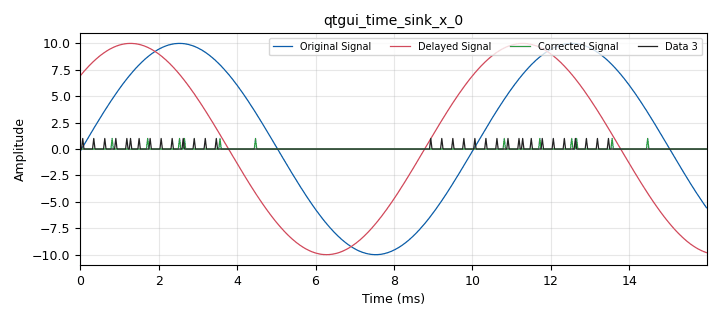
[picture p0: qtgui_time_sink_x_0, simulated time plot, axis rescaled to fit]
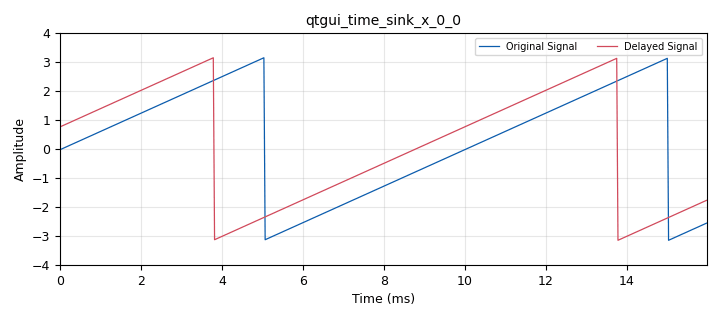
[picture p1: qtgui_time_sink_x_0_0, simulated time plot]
options:
  parameters:
    generate_options: qt_gui
    id: top_block
    output_language: python
  states: {}

blocks:
- name: alpha
  id: variable
  parameters:
    value: '0.001'
  states: {}
- name: amplitude
  id: variable_qtgui_range
  parameters:
    label: Amplitude
    min_len: '10'
    orient: Qt.Horizontal
    start: '0'
    step: '0.5'
    stop: '10'
    value: '10'
  states: {}
- name: delay
  id: variable_qtgui_entry
  parameters:
    type: int
    value: '0'
  states: {}
- name: factor
  id: variable
  parameters:
    value: '0.3'
  states: {}
- name: frequency
  id: variable
  parameters:
    value: '100'
  states: {state: disabled}
- name: frequency
  id: variable_qtgui_entry
  parameters:
    type: real
    value: '100'
  states: {}
- name: lookahead
  id: variable
  parameters:
    value: int(samp_rate/1e3/1.1)
  states: {}
- name: samp_rate
  id: variable
  parameters:
    value: 32e3
  states: {}
- name: analog_noise_source_x_0
  id: analog_noise_source_x
  parameters:
    amp: '0.001'
    noise_type: analog.GR_GAUSSIAN
    seed: '0'
    type: complex
  states: {}
- name: analog_sig_source_x_0
  id: analog_sig_source_x
  parameters:
    amp: amplitude
    freq: frequency
    offset: '0'
    phase: '0'
    samp_rate: samp_rate
    type: complex
    waveform: analog.GR_COS_WAVE
  states: {}
- name: analog_sig_source_x_0_0
  id: analog_sig_source_x
  parameters:
    amp: amplitude
    freq: frequency
    offset: '0'
    phase: 3.1415/4
    samp_rate: samp_rate
    type: complex
    waveform: analog.GR_COS_WAVE
  states: {}
- name: blocks_add_xx_0
  id: blocks_add_xx
  parameters:
    type: complex
  states: {}
- name: blocks_add_xx_0_0
  id: blocks_add_xx
  parameters:
    type: complex
  states: {}
- name: blocks_char_to_float_0
  id: blocks_char_to_float
  parameters:
    scale: '1'
  states: {}
- name: blocks_char_to_float_0_0
  id: blocks_char_to_float
  parameters:
    scale: '1'
  states: {}
- name: blocks_complex_to_magphase_0_0
  id: blocks_complex_to_magphase
  parameters: {}
  states: {}
- name: blocks_complex_to_magphase_0_0_0
  id: blocks_complex_to_magphase
  parameters: {}
  states: {}
- name: blocks_complex_to_real_0
  id: blocks_complex_to_real
  parameters: {}
  states: {}
- name: blocks_complex_to_real_0_0
  id: blocks_complex_to_real
  parameters: {}
  states: {}
- name: blocks_delay_0
  id: blocks_delay
  parameters:
    delay: delay
    type: complex
  states: {}
- name: blocks_null_sink_0
  id: blocks_null_sink
  parameters:
    type: float
  states: {}
- name: blocks_null_sink_0_0
  id: blocks_null_sink
  parameters:
    type: float
  states: {}
- name: blocks_null_sink_0_0_0
  id: blocks_null_sink
  parameters:
    type: float
  states: {}
- name: blocks_peak_detector2_fb_0
  id: blocks_peak_detector2_fb
  parameters:
    alpha: alpha
    look_ahead: lookahead
    threshold_factor_rise: factor
  states: {}
- name: blocks_peak_detector2_fb_0_0
  id: blocks_peak_detector2_fb
  parameters:
    alpha: '0.001'
    look_ahead: '9'
    threshold_factor_rise: '0.3'
  states: {}
- name: blocks_throttle_0_0
  id: blocks_throttle
  parameters:
    samples_per_second: samp_rate
    type: complex
  states: {}
- name: blocks_throttle_0_0_0
  id: blocks_throttle
  parameters:
    samples_per_second: samp_rate
    type: complex
  states: {}
- name: qtgui_time_sink_x_0
  id: qtgui_time_sink_x
  parameters:
    ctrlpanel: 'True'
    entags: 'False'
    grid: 'True'
    label1: Original Signal
    label2: Delayed Signal
    label3: Corrected Signal
    label4: ''
    nconnections: '4'
    size: '512'
    srate: samp_rate
    tr_mode: qtgui.TRIG_MODE_AUTO
    type: float
    ymax: '1.5'
    ymin: '-1.5'
  states: {}
- name: qtgui_time_sink_x_0_0
  id: qtgui_time_sink_x
  parameters:
    entags: 'False'
    grid: 'True'
    label1: Original Signal
    label2: Delayed Signal
    nconnections: '2'
    size: '512'
    srate: samp_rate
    tr_mode: qtgui.TRIG_MODE_AUTO
    type: float
    update_time: '0.1'
    ymax: '4'
    ymin: '-4'
  states: {}

connections:
- [analog_noise_source_x_0, '0', blocks_add_xx_0, '1']
- [analog_noise_source_x_0, '0', blocks_add_xx_0_0, '0']
- [analog_sig_source_x_0, '0', blocks_throttle_0_0, '0']
- [analog_sig_source_x_0_0, '0', blocks_delay_0, '0']
- [blocks_add_xx_0, '0', blocks_complex_to_magphase_0_0, '0']
- [blocks_add_xx_0, '0', blocks_complex_to_real_0, '0']
- [blocks_add_xx_0_0, '0', blocks_complex_to_magphase_0_0_0, '0']
- [blocks_add_xx_0_0, '0', blocks_complex_to_real_0_0, '0']
- [blocks_char_to_float_0, '0', qtgui_time_sink_x_0, '2']
- [blocks_char_to_float_0_0, '0', qtgui_time_sink_x_0, '3']
- [blocks_complex_to_magphase_0_0, '0', blocks_null_sink_0_0, '0']
- [blocks_complex_to_magphase_0_0, '1', qtgui_time_sink_x_0_0, '0']
- [blocks_complex_to_magphase_0_0_0, '0', blocks_null_sink_0_0_0, '0']
- [blocks_complex_to_magphase_0_0_0, '1', qtgui_time_sink_x_0_0, '1']
- [blocks_complex_to_real_0, '0', blocks_peak_detector2_fb_0, '0']
- [blocks_complex_to_real_0, '0', qtgui_time_sink_x_0, '0']
- [blocks_complex_to_real_0_0, '0', blocks_peak_detector2_fb_0_0, '0']
- [blocks_complex_to_real_0_0, '0', qtgui_time_sink_x_0, '1']
- [blocks_delay_0, '0', blocks_throttle_0_0_0, '0']
- [blocks_peak_detector2_fb_0, '0', blocks_char_to_float_0, '0']
- [blocks_peak_detector2_fb_0, '1', blocks_null_sink_0, '0']
- [blocks_peak_detector2_fb_0_0, '0', blocks_char_to_float_0_0, '0']
- [blocks_throttle_0_0, '0', blocks_add_xx_0, '0']
- [blocks_throttle_0_0_0, '0', blocks_add_xx_0_0, '1']

metadata:
  file_format: 1
